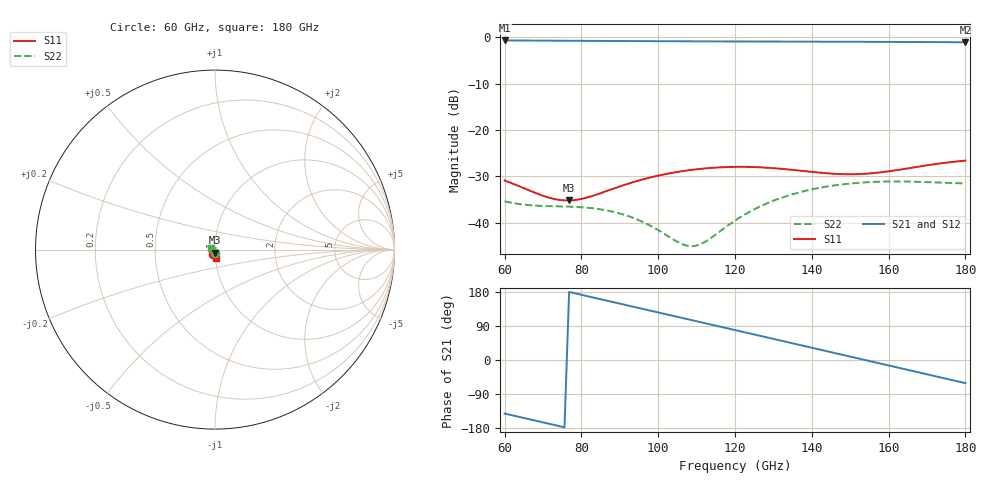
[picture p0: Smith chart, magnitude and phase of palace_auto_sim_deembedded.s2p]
! Created with skrf 1.11.0 (http://scikit-rf.org).
# GHz S DB R 50.0
!freq dBS11 angS11 dBS21 angS21 dBS12 angS12 dBS22 angS22
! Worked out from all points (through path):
!   101 points, 60 GHz to 180 GHz, reference 50 ohm
!   highest |S21| = -0.64 dB at 60 GHz (marker M1); lowest = -1.0 dB at 180 GHz (marker M2)
!   group delay of S21, straight-line fit = 6.47 ps
!   lowest |S11| = -35.2 dB at 76.8 GHz (marker M3), VSWR 1.04, Z = 50 - j1.74 ohm
!   |S11| at or under -10 dB: start of sweep to end of sweep
!   |S22| runs from -45.1 to -31.1 dB; largest |S21 - S12| = 2.1e-14
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60  -30.89 -108.3  -0.64 -141.3  -0.64 -141.3  -35.40 -87.6
68.4  -33.69 -106.3  -0.67 -160.9  -0.67 -160.9  -36.33 -87.8
73.2  -34.94 -97.3  -0.69 -172.1  -0.69 -172.1  -36.46 -90.5
76.8  -35.21 -87.9  -0.71 179.5  -0.71 179.5  -36.53 -94.6
80.4  -34.79 -78.9  -0.72 171.1  -0.72 171.1  -36.69 -100.3
85.2  -33.57 -71.1  -0.74 159.9  -0.74 159.9  -37.15 -110.5
90  -32.17 -68.2  -0.76 148.7  -0.76 148.7  -38.01 -123.5
96  -30.65 -69.0  -0.78 134.8  -0.78 134.8  -39.84 -144.8
100.8  -29.70 -71.7  -0.80 123.6  -0.80 123.6  -42.01 -168.6
105.6  -28.96 -75.3  -0.82 112.5  -0.82 112.5  -44.40 155.7
109.2  -28.55 -78.3  -0.83 104.1  -0.83 104.1  -45.08 119.1
112.8  -28.24 -81.5  -0.84 95.7  -0.84 95.7  -43.84 83.1
120  -27.95 -87.8  -0.86 79.0  -0.86 79.0  -39.55 34.7
124.8  -27.99 -91.5  -0.87 67.8  -0.87 67.8  -37.21 12.7
129.6  -28.20 -94.5  -0.88 56.6  -0.88 56.6  -35.39 -6.2
140.4  -29.06 -96.3  -0.90 31.4  -0.90 31.4  -32.74 -45.0
146.4  -29.46 -93.7  -0.92 17.4  -0.92 17.4  -31.89 -66.2
151.2  -29.53 -90.1  -0.93 6.2  -0.93 6.2  -31.46 -83.5
156  -29.30 -86.4  -0.94 -5.0  -0.94 -5.0  -31.21 -101.3
160.8  -28.81 -83.5  -0.96 -16.2  -0.96 -16.2  -31.11 -119.8
170.4  -27.57 -82.0  -0.99 -38.7  -0.99 -38.7  -31.25 -159.6
180  -26.61 -85.3  -1.03 -61.1  -1.03 -61.1  -31.52 156.3
